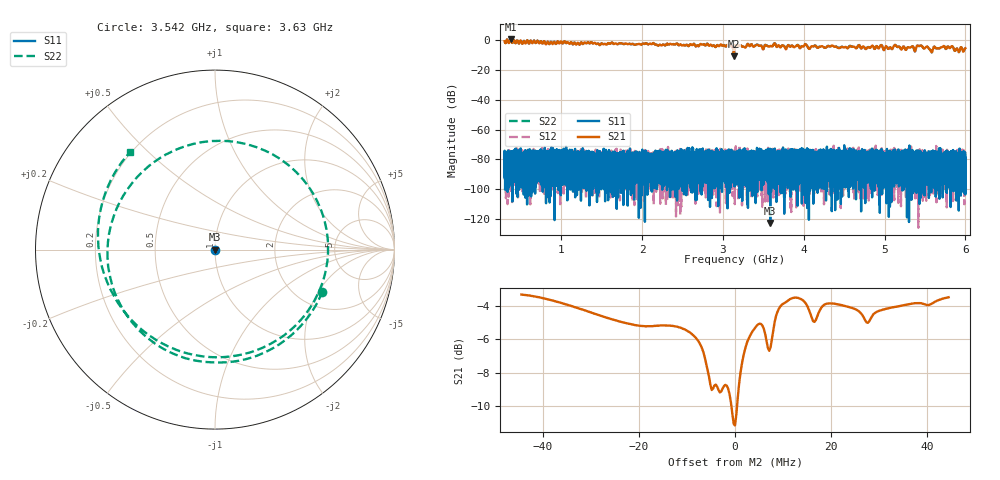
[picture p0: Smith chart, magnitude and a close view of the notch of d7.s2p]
!Agilent Technologies,N5230C,SG49000117,A.08.50.07
!Agilent N5230C: A.08.50.07
!Date: Monday, March 18, 2024 18:15:39
!Correction: S11(Off)
!S21(Off)
!S12(Off)
!S22(Off)
!S2P File: Measurements: S11, S21, S12, S22:
# Hz S  RI  R 50
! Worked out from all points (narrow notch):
!   20001 points, 300 MHz to 6 GHz, reference 50 ohm
!   highest |S21| = 0.42 dB at 373.5 MHz (marker M1); lowest = -11.2 dB at 3.138 GHz (marker M2)
!   notch at M2: 7.4 dB deep, 7.43 MHz wide at half that depth
!   lowest |S11| = -122.3 dB at 3.586 GHz (marker M3), VSWR 1.00, Z = 50 - j5.19e-05 ohm
!   |S11| at or under -10 dB: start of sweep to end of sweep
!   |S22| runs from -11.1 to 0.5 dB; largest |S21 - S12| = 1
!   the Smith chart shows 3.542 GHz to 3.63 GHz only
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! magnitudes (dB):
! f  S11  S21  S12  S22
! 300 MHz  -84.0  -1.0  -77.7  -1.0
! 373.5 MHz  -82.0  0.4  -82.7  0.5
! 1.25 GHz  -74.8  -1.8  -84.0  -1.8
! 2.2 GHz  -80.4  -3.9  -79.1  -3.9
! 3.075 GHz  -81.1  -3.6  -79.3  -3.6
! 3.138 GHz  -80.8  -11.2  -85.6  -11.1
! 3.15 GHz  -85.0  -3.5  -74.3  -3.5
! 3.175 GHz  -95.8  -3.9  -94.1  -3.8
! 3.263 GHz  -79.5  -4.7  -76.6  -4.6
! 3.329 GHz  -78.4  -4.2  -86.6  -4.2
! 3.586 GHz  -122.3  -4.2  -82.9  -4.1
! 3.635 GHz  -73.4  -2.6  -82.9  -2.5
! 4.1 GHz  -77.1  -4.3  -78.4  -4.2
! 5.05 GHz  -81.8  -6.0  -96.3  -6.0
! 5.137 GHz  -80.5  -3.6  -86.5  -3.6
! 5.371 GHz  -87.9  -7.4  -84.0  -7.4
! 5.431 GHz  -82.9  -4.2  -76.6  -4.2
! 5.573 GHz  -89.7  -7.5  -76.8  -7.5
! 5.719 GHz  -88.2  -4.7  -79.7  -4.7
! 5.828 GHz  -82.1  -4.4  -83.1  -4.4
! 5.897 GHz  -79.7  -5.8  -87.3  -5.9
! 6 GHz  -83.9  -5.6  -82.0  -5.6
